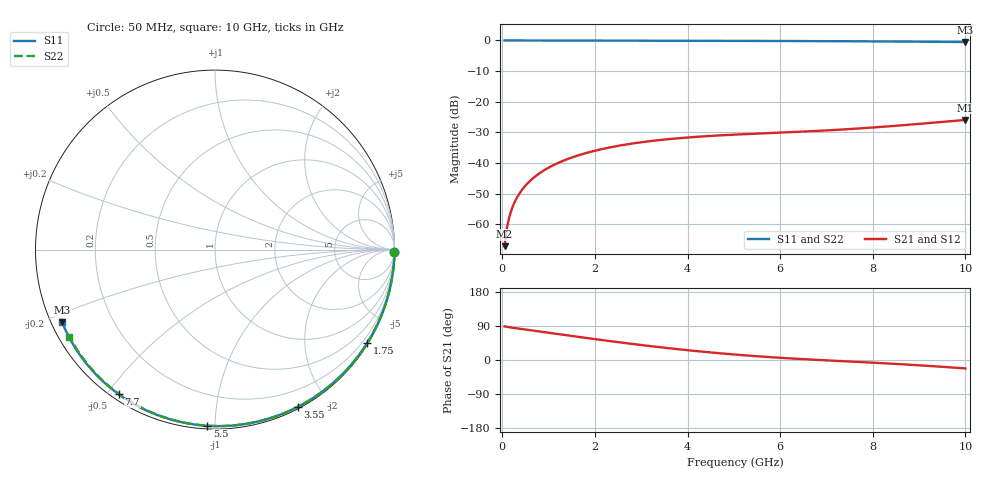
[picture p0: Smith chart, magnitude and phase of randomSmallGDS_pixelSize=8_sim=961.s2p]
! freq	dB(S11)	phase(S11)	dB(S12)	phase(S12)
!  dB(S21)	phase(S21)	dB(S22)	phase(S22)
!S-par simulation data
#  GHz  S  DB  R 50
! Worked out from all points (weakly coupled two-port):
!   200 points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, 50 MHz to 10 GHz, reference 50 ohm
!   highest |S21| = -25.93 dB at 10 GHz (marker M1); lowest = -67.1 dB at 50 MHz (marker M2)
!   lowest |S11| = -0.5 dB at 10 GHz (marker M3), VSWR 34.09, Z = 1.54 - j11.3 ohm
!   |S11| at or under -10 dB: nowhere
!   |S22| runs from -0.5 to 0.0 dB; largest |S21 - S12| = 0
!   S11 on the Smith chart (normalised r, x): 50 MHz: open; 1.75 GHz: 0.03, -3.53; 3.55 GHz: 0.02, -1.66; 5.5 GHz: 0.02, -0.96; 7.7 GHz: 0.02, -0.54; 10 GHz: 0.03, -0.23
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0.05  -0.00 -0.9  -67.10 88.7  -67.10 88.7  -0.00 -0.9
0.1  -0.00 -1.8  -61.12 87.5  -61.12 87.5  -0.00 -1.8
0.15  -0.00 -2.8  -57.64 86.5  -57.64 86.5  -0.00 -2.7
0.2  -0.00 -3.7  -55.19 85.5  -55.19 85.5  -0.00 -3.5
0.25  -0.00 -4.6  -53.28 84.7  -53.28 84.7  -0.00 -4.4
0.35  -0.00 -6.4  -50.41 83.0  -50.41 83.0  -0.00 -6.2
0.5  -0.01 -9.2  -47.36 80.5  -47.36 80.5  -0.01 -8.8
0.7  -0.01 -12.8  -44.49 77.1  -44.49 77.1  -0.01 -12.3
1  -0.02 -18.2  -41.49 71.9  -41.49 71.9  -0.02 -17.5
1.35  -0.03 -24.5  -39.02 65.9  -39.02 65.9  -0.03 -23.6
1.75  -0.04 -31.6  -36.97 59.2  -36.97 59.2  -0.04 -30.4
2.5  -0.06 -44.6  -34.38 47.1  -34.38 47.1  -0.06 -43.0
3.4  -0.08 -59.7  -32.48 33.8  -32.48 33.8  -0.08 -57.6
3.55  -0.09 -62.2  -32.25 31.7  -32.25 31.7  -0.08 -59.9
4.3  -0.11 -74.2  -31.33 22.2  -31.33 22.2  -0.10 -71.6
5.05  -0.13 -85.8  -30.69 14.1  -30.69 14.1  -0.13 -82.7
5.5  -0.15 -92.5  -30.38 9.9  -30.38 9.9  -0.15 -89.3
6.7  -0.21 -109.8  -29.58 0.9  -29.58 0.9  -0.21 -106.0
7.7  -0.28 -123.6  -28.71 -5.2  -28.71 -5.2  -0.27 -119.4
8.35  -0.34 -132.4  -28.00 -9.3  -28.00 -9.3  -0.32 -127.9
9.2  -0.42 -143.8  -26.96 -15.5  -26.96 -15.5  -0.41 -138.8
10  -0.51 -154.5  -25.93 -22.2  -25.93 -22.2  -0.50 -149.2
